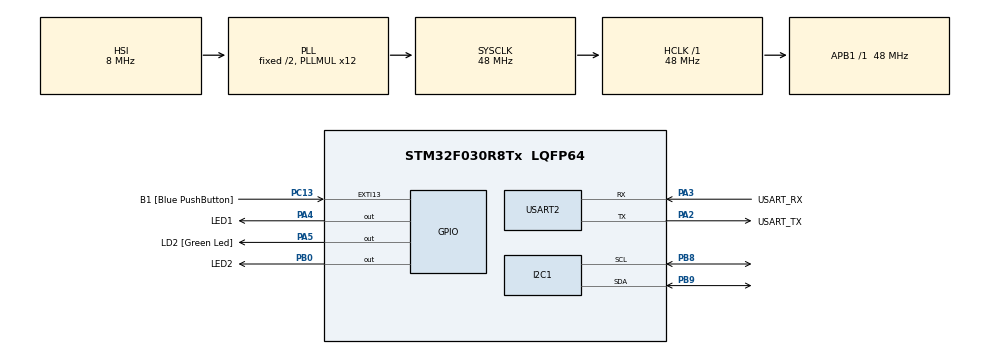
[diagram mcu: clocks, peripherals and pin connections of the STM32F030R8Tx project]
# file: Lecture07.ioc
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FREERTOS.Queues01=xVisualQueue,16,uint16_t,0,Dynamic,NULL,NULL
FREERTOS.Tasks01=defaultTask,0,128,StartDefaultTask,Default,NULL,Dynamic,NULL,NULL;VisualTask,0,128,StartVisualTask,Default,NULL,Dynamic,NULL,NULL;AcceleroTask,0,128,StartAcceleroTask,Default,NULL,Dynamic,NULL,NULL
FREERTOS.configUSE_NEWLIB_REENTRANT=1
I2C1.Timing=0x00201D2B
Mcu.Family=STM32F0
Mcu.Name=STM32F030R8Tx
Mcu.Package=LQFP64
NVIC.TIM14_IRQn=true\:3\:0\:false\:false\:true\:false\:false\:true\:true
NVIC.TimeBase=TIM14_IRQn
NVIC.TimeBaseIP=TIM14
PA13.GPIO_Label=TMS
PA13.Mode=Serial_Wire
PA13.Signal=SYS_SWDIO
PA14.GPIO_Label=TCK
PA14.Mode=Serial_Wire
PA14.Signal=SYS_SWCLK
PA2.GPIO_Label=USART_TX
PA2.GPIO_Mode=GPIO_MODE_AF_PP
PA2.GPIO_PuPd=GPIO_NOPULL
PA2.GPIO_Speed=GPIO_SPEED_FREQ_LOW
PA2.Mode=Asynchronous
PA2.Signal=USART2_TX
PA3.GPIO_Label=USART_RX
PA3.GPIO_Mode=GPIO_MODE_AF_PP
PA3.GPIO_PuPd=GPIO_NOPULL
PA3.GPIO_Speed=GPIO_SPEED_FREQ_LOW
PA3.Mode=Asynchronous
PA3.Signal=USART2_RX
PA4.GPIO_Label=LED1
PA4.Signal=GPIO_Output
PA5.GPIO_Label=LD2 [Green Led]
PA5.GPIO_Mode=GPIO_MODE_OUTPUT_PP
PA5.GPIO_PuPd=GPIO_NOPULL
PA5.GPIO_Speed=GPIO_SPEED_FREQ_LOW
PA5.Signal=GPIO_Output
PB0.GPIO_Label=LED2
PB0.Signal=GPIO_Output
PB8.Mode=I2C
PB8.Signal=I2C1_SCL
PB9.Mode=I2C
PB9.Signal=I2C1_SDA
PC13.GPIO_Label=B1 [Blue PushButton]
PC13.GPIO_ModeDefaultEXTI=GPIO_MODE_IT_FALLING
PC13.Signal=GPXTI13
PC14-OSC32_IN.Mode=LSE-External-Oscillator
PC14-OSC32_IN.Signal=RCC_OSC32_IN
PC15-OSC32_OUT.Mode=LSE-External-Oscillator
PC15-OSC32_OUT.Signal=RCC_OSC32_OUT
PF0-OSC_IN.Mode=HSE-External-Clock-Source
PF0-OSC_IN.Signal=RCC_OSC_IN
PF1-OSC_OUT.Signal=RCC_OSC_OUT
ProjectManager.HeapSize=0x200
ProjectManager.StackSize=0x400
ProjectManager.TargetToolchain=STM32CubeIDE
RCC.AHBFreq_Value=48000000
RCC.APB1Freq_Value=48000000
RCC.APB1TimFreq_Value=48000000
RCC.HCLKFreq_Value=48000000
RCC.PLLMUL=RCC_PLL_MUL12
RCC.SYSCLKFreq_VALUE=48000000
RCC.SYSCLKSource=RCC_SYSCLKSOURCE_PLLCLK
USART2.VirtualMode-Asynchronous=VM_ASYNC
VP_FREERTOS_VS_CMSIS_V1.Mode=CMSIS_V1
VP_SYS_VS_tim14.Mode=TIM14
board=NUCLEO-F030R8

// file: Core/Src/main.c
/* USER CODE BEGIN Header */
/**
  ******************************************************************************
  * @file           : main.c
  * @brief          : Main program body
  ******************************************************************************
  * @attention
  *
  * Copyright (c) 2024 STMicroelectronics.
  * All rights reserved.
  *
  * This software is licensed under terms that can be found in the LICENSE file
  * in the root directory of this software component.
  * If no LICENSE file comes with this software, it is provided AS-IS.
  *
  ******************************************************************************
  */
/* USER CODE END Header */
#include "main.h"
#include "cmsis_os.h"

/* USER CODE BEGIN Includes */
#include "lis2dw12_reg.h"
#include <stdio.h>
/* USER CODE END Includes */

/* USER CODE BEGIN PD */
#define printDelay 1000
/* USER CODE END PD */

I2C_HandleTypeDef hi2c1;

UART_HandleTypeDef huart2;

osThreadId defaultTaskHandle;
osThreadId VisualTaskHandle;
osThreadId AcceleroTaskHandle;
osMessageQId xVisualQueueHandle;

void SystemClock_Config(void);
static void MX_GPIO_Init(void);
static void MX_USART2_UART_Init(void);
static void MX_I2C1_Init(void);
void StartDefaultTask(void const * argument);
void StartVisualTask(void const * argument);
void StartAcceleroTask(void const * argument);

/* USER CODE BEGIN 0 */
int _write(int file, char const *buf, int n){
 /* stdout redirection to UART2 */
 HAL_UART_Transmit(&huart2, (uint8_t*)(buf), n, HAL_MAX_DELAY);
 return n;
}

static int32_t platform_write(void *handle, uint8_t reg, uint8_t *bufp, uint16_t len);
static int32_t platform_read(void *handle, uint8_t reg, uint8_t *bufp, uint16_t len);
static stmdev_ctx_t lis2dw12 = {
 .write_reg = platform_write,
 .read_reg = platform_read,
 .handle = &hi2c1,
};

static int32_t platform_write(void *handle, uint8_t reg, uint8_t *bufp,
 uint16_t len){
 HAL_I2C_Mem_Write(handle, LIS2DW12_I2C_ADD_H, reg, I2C_MEMADD_SIZE_8BIT, bufp, len, 1000);
 return 0;
}
static int32_t platform_read(void *handle, uint8_t reg, uint8_t *bufp, uint16_t len){
 HAL_I2C_Mem_Read(handle, LIS2DW12_I2C_ADD_H, reg, I2C_MEMADD_SIZE_8BIT, bufp, len, 1000);
 return 0;
}

/* USER CODE END 0 */

int main(void)
{

  /* MCU Configuration--------------------------------------------------------*/

  /* Reset of all peripherals, Initializes the Flash interface and the Systick. */
  HAL_Init();

  /* Configure the system clock */
  SystemClock_Config();

  /* Initialize all configured peripherals */
  MX_GPIO_Init();
  MX_USART2_UART_Init();
  MX_I2C1_Init();

  /* Create the queue(s) */
  /* definition and creation of xVisualQueue */
  osMessageQDef(xVisualQueue, 16, uint16_t);
  xVisualQueueHandle = osMessageCreate(osMessageQ(xVisualQueue), NULL);

  /* Create the thread(s) */
  /* definition and creation of defaultTask */
  osThreadDef(defaultTask, StartDefaultTask, osPriorityNormal, 0, 128);
  defaultTaskHandle = osThreadCreate(osThread(defaultTask), NULL);

  /* definition and creation of VisualTask */
  osThreadDef(VisualTask, StartVisualTask, osPriorityNormal, 0, 128);
  VisualTaskHandle = osThreadCreate(osThread(VisualTask), NULL);

  /* definition and creation of AcceleroTask */
  osThreadDef(AcceleroTask, StartAcceleroTask, osPriorityNormal, 0, 128);
  AcceleroTaskHandle = osThreadCreate(osThread(AcceleroTask), NULL);

  /* Start scheduler */
  osKernelStart();

  /* We should never get here as control is now taken by the scheduler */

  /* Infinite loop */
  while (1)
  {

  }
}

void SystemClock_Config(void)
{
  RCC_OscInitTypeDef RCC_OscInitStruct = {0};
  RCC_ClkInitTypeDef RCC_ClkInitStruct = {0};
  RCC_PeriphCLKInitTypeDef PeriphClkInit = {0};

  /** Initializes the RCC Oscillators according to the specified parameters
  * in the RCC_OscInitTypeDef structure.
  */
  RCC_OscInitStruct.OscillatorType = RCC_OSCILLATORTYPE_HSI;
  RCC_OscInitStruct.HSIState = RCC_HSI_ON;
  RCC_OscInitStruct.HSICalibrationValue = RCC_HSICALIBRATION_DEFAULT;
  RCC_OscInitStruct.PLL.PLLState = RCC_PLL_ON;
  RCC_OscInitStruct.PLL.PLLSource = RCC_PLLSOURCE_HSI;
  RCC_OscInitStruct.PLL.PLLMUL = RCC_PLL_MUL12;
  RCC_OscInitStruct.PLL.PREDIV = RCC_PREDIV_DIV1;
  if (HAL_RCC_OscConfig(&RCC_OscInitStruct) != HAL_OK)
  {
    Error_Handler();
  }

  /** Initializes the CPU, AHB and APB buses clocks
  */
  RCC_ClkInitStruct.ClockType = RCC_CLOCKTYPE_HCLK|RCC_CLOCKTYPE_SYSCLK
                              |RCC_CLOCKTYPE_PCLK1;
  RCC_ClkInitStruct.SYSCLKSource = RCC_SYSCLKSOURCE_PLLCLK;
  RCC_ClkInitStruct.AHBCLKDivider = RCC_SYSCLK_DIV1;
  RCC_ClkInitStruct.APB1CLKDivider = RCC_HCLK_DIV1;

  if (HAL_RCC_ClockConfig(&RCC_ClkInitStruct, FLASH_LATENCY_1) != HAL_OK)
  {
    Error_Handler();
  }
  PeriphClkInit.PeriphClockSelection = RCC_PERIPHCLK_I2C1;
  PeriphClkInit.I2c1ClockSelection = RCC_I2C1CLKSOURCE_HSI;
  if (HAL_RCCEx_PeriphCLKConfig(&PeriphClkInit) != HAL_OK)
  {
    Error_Handler();
  }
}

static void MX_I2C1_Init(void)
{

  hi2c1.Instance = I2C1;
  hi2c1.Init.Timing = 0x00201D2B;
  hi2c1.Init.OwnAddress1 = 0;
  hi2c1.Init.AddressingMode = I2C_ADDRESSINGMODE_7BIT;
  hi2c1.Init.DualAddressMode = I2C_DUALADDRESS_DISABLE;
  hi2c1.Init.OwnAddress2 = 0;
  hi2c1.Init.OwnAddress2Masks = I2C_OA2_NOMASK;
  hi2c1.Init.GeneralCallMode = I2C_GENERALCALL_DISABLE;
  hi2c1.Init.NoStretchMode = I2C_NOSTRETCH_DISABLE;
  if (HAL_I2C_Init(&hi2c1) != HAL_OK)
  {
    Error_Handler();
  }

  /** Configure Analogue filter
  */
  if (HAL_I2CEx_ConfigAnalogFilter(&hi2c1, I2C_ANALOGFILTER_ENABLE) != HAL_OK)
  {
    Error_Handler();
  }

  /** Configure Digital filter
  */
  if (HAL_I2CEx_ConfigDigitalFilter(&hi2c1, 0) != HAL_OK)
  {
    Error_Handler();
  }

}

static void MX_USART2_UART_Init(void)
{

  huart2.Instance = USART2;
  huart2.Init.BaudRate = 38400;
  huart2.Init.WordLength = UART_WORDLENGTH_8B;
  huart2.Init.StopBits = UART_STOPBITS_1;
  huart2.Init.Parity = UART_PARITY_NONE;
  huart2.Init.Mode = UART_MODE_TX_RX;
  huart2.Init.HwFlowCtl = UART_HWCONTROL_NONE;
  huart2.Init.OverSampling = UART_OVERSAMPLING_16;
  huart2.Init.OneBitSampling = UART_ONE_BIT_SAMPLE_DISABLE;
  huart2.AdvancedInit.AdvFeatureInit = UART_ADVFEATURE_NO_INIT;
  if (HAL_UART_Init(&huart2) != HAL_OK)
  {
    Error_Handler();
  }

}

static void MX_GPIO_Init(void)
{
  GPIO_InitTypeDef GPIO_InitStruct = {0};

  /* GPIO Ports Clock Enable */
  __HAL_RCC_GPIOC_CLK_ENABLE();
  __HAL_RCC_GPIOF_CLK_ENABLE();
  __HAL_RCC_GPIOA_CLK_ENABLE();
  __HAL_RCC_GPIOB_CLK_ENABLE();

  /*Configure GPIO pin Output Level */
  HAL_GPIO_WritePin(GPIOA, LED1_Pin|LD2_Pin, GPIO_PIN_RESET);

  /*Configure GPIO pin Output Level */
  HAL_GPIO_WritePin(LED2_GPIO_Port, LED2_Pin, GPIO_PIN_RESET);

  /*Configure GPIO pin : B1_Pin */
  GPIO_InitStruct.Pin = B1_Pin;
  GPIO_InitStruct.Mode = GPIO_MODE_IT_FALLING;
  GPIO_InitStruct.Pull = GPIO_NOPULL;
  HAL_GPIO_Init(B1_GPIO_Port, &GPIO_InitStruct);

  /*Configure GPIO pins : LED1_Pin LD2_Pin */
  GPIO_InitStruct.Pin = LED1_Pin|LD2_Pin;
  GPIO_InitStruct.Mode = GPIO_MODE_OUTPUT_PP;
  GPIO_InitStruct.Pull = GPIO_NOPULL;
  GPIO_InitStruct.Speed = GPIO_SPEED_FREQ_LOW;
  HAL_GPIO_Init(GPIOA, &GPIO_InitStruct);

  /*Configure GPIO pin : LED2_Pin */
  GPIO_InitStruct.Pin = LED2_Pin;
  GPIO_InitStruct.Mode = GPIO_MODE_OUTPUT_PP;
  GPIO_InitStruct.Pull = GPIO_NOPULL;
  GPIO_InitStruct.Speed = GPIO_SPEED_FREQ_LOW;
  HAL_GPIO_Init(LED2_GPIO_Port, &GPIO_InitStruct);

}

void StartDefaultTask(void const * argument)
{
  for(;;)
  {
    osDelay(1);
  }
}

void StartVisualTask(void const * argument)
{
  /* USER CODE BEGIN StartVisualTask */
	int16_t msg;
  /* Infinite loop */
  for(;;)
  {
	if (xQueueReceive(xVisualQueueHandle, &msg, portMAX_DELAY)){
	  // Set LED1 On when titled left
	  if (msg <= -1000){
		HAL_GPIO_WritePin(LED1_GPIO_Port, LED1_Pin, GPIO_PIN_SET);
	  } else {
		HAL_GPIO_WritePin(LED1_GPIO_Port, LED1_Pin, GPIO_PIN_RESET);
	  }
	  // Set LED2 On when titled right
	  if (msg >= 1000) {
		HAL_GPIO_WritePin(LED2_GPIO_Port, LED2_Pin, GPIO_PIN_SET);
	  } else {
		HAL_GPIO_WritePin(LED2_GPIO_Port, LED2_Pin, GPIO_PIN_RESET);
	  }
    }
    osDelay(1);
  }
  /* USER CODE END StartVisualTask */
}

void StartAcceleroTask(void const * argument)
{
  /* USER CODE BEGIN StartAcceleroTask */
	// test connection to ensure that we are connected to gyroscope
	uint8_t whoamI = 0;
	lis2dw12_device_id_get(&lis2dw12, &whoamI);
	printf("LIS2DW12_ID %s\n", (whoamI == LIS2DW12_ID) ? "OK" : "FAIL");

	lis2dw12_full_scale_set(&lis2dw12, LIS2DW12_2g);
	lis2dw12_power_mode_set(&lis2dw12, LIS2DW12_CONT_LOW_PWR_LOW_NOISE_2);
	lis2dw12_block_data_update_set(&lis2dw12, PROPERTY_ENABLE);
	// enable continuous FIFO
	lis2dw12_fifo_mode_set(&lis2dw12, LIS2DW12_STREAM_MODE);
	// enable part from power-down
	lis2dw12_data_rate_set(&lis2dw12, LIS2DW12_XL_ODR_25Hz);

	uint8_t samples;
	int16_t raw_acceleration[3];
	uint16_t msgDelay = 0;
	uint16_t msgID = 0;
	/*
	int16_t msg;
	uint8_t i = 0;
	*/
  /* Infinite loop */
  for(;;)
  {

	/*// Simulating data of accelerometer to test LED logic
	if (i == 0) msg = -5000;
	else if (i == 1) msg = 0;
	else if (i == 2) msg = 5000;
	else if (i == 3) msg = 0;
	i++;
	if (i >3) i = 0;
    xQueueSend(xVisualQueueHandle, &msg, 0);
	vTaskDelay(300);
	 */

	lis2dw12_fifo_data_level_get(&lis2dw12, &samples);
	for (uint8_t i = 0; i < samples; i++) {
	  // Read acceleration data
	  lis2dw12_acceleration_raw_get(&lis2dw12, raw_acceleration);
	  if (msgDelay == printDelay){
		msgDelay = 0;
		msgID++;
	    printf("Data NO=%d:",msgID);
	    printf(" X=%d Y=%d Z=%d", raw_acceleration[0], raw_acceleration[1], raw_acceleration[2]);
	    if (raw_acceleration[0] <= -1000){
	      printf(", LED1 ON\n");
	    } else if (raw_acceleration[0] >=1000){
	      printf(", LED2 ON\n");
	    } else printf("\n");
	  }
    }

	xQueueSend(xVisualQueueHandle, &raw_acceleration[0], 0);
	vTaskDelay(50);
	msgDelay += 50;
  }
  /* USER CODE END StartAcceleroTask */
}

void HAL_TIM_PeriodElapsedCallback(TIM_HandleTypeDef *htim)
{
  if (htim->Instance == TIM14) {
    HAL_IncTick();
  }
}

void Error_Handler(void)
{
  __disable_irq();
  while (1)
  {
  }
}
